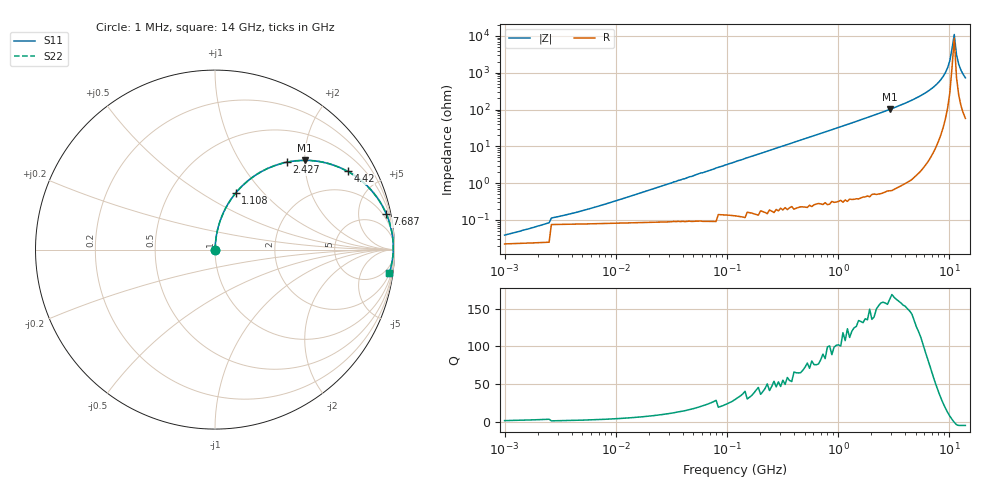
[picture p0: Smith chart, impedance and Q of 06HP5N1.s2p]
# MHz S MA R 50
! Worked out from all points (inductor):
!   208 points, 1 MHz to 14 GHz, reference 50 ohm
!   read as one part in series: L = 5.1 nH near 2.402 MHz
!   highest Q = 162 at 2.918 GHz (marker M1), where L = 5.48 nH
!   self-resonance near 10.62 GHz
!   S11 on the Smith chart (normalised r, x): 1 MHz: 1.00, +0.00; 1.108 GHz: 1.01, +0.72; 2.427 GHz: 1.01, +1.64; 4.42 GHz: 1.02, +3.38; 7.687 GHz: 1.20, +9.61; 14 GHz: 2, -14
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1  0.0005497 35.6  1 -0.0  1 -0.0  0.0005497 35.6
2.092  0.0008274 54.0  1 -0.0  1 -0.0  0.0008274 54.0
5.024  0.001702 70.9  0.999 -0.1  0.999 -0.1  0.001702 70.9
25.239  0.00812 83.9  0.999 -0.5  0.999 -0.5  0.00812 83.9
121.082  0.039 85.8  0.998 -2.2  0.998 -2.2  0.039 85.8
580.879  0.183 78.7  0.981 -10.5  0.981 -10.5  0.183 78.7
1107.898  0.337 69.8  0.939 -19.7  0.939 -19.7  0.337 69.8
1602.273  0.463 62.0  0.883 -27.6  0.883 -27.6  0.463 62.0
2426.627  0.631 50.5  0.772 -39.1  0.772 -39.1  0.631 50.5
2918.243  0.707 44.7  0.703 -45.0  0.703 -45.0  0.707 44.7
4419.651  0.858 30.5  0.508 -59.1  0.508 -59.1  0.858 30.5
6103.728  0.939 19.4  0.333 -70.0  0.333 -70.0  0.939 19.4
7686.758  0.975 11.7  0.203 -77.1  0.203 -77.1  0.975 11.7
8827.384  0.987 7.2  0.125 -80.5  0.125 -80.5  0.987 7.2
9680.353  0.992 4.2  0.073 -81.3  0.073 -81.3  0.992 4.2
10137.26  0.993 2.7  0.047 -79.7  0.047 -79.7  0.993 2.7
10615.74  0.993 1.2  0.022 -70.7  0.022 -70.7  0.993 1.2
11116.81  0.993 -0.3  0.009067 36.8  0.009067 36.8  0.993 -0.3
11641.52  0.992 -1.8  0.032 74.2  0.032 74.2  0.992 -1.8
12191  0.99 -3.3  0.058 78.3  0.058 78.3  0.99 -3.3
12766.41  0.987 -4.8  0.084 79.0  0.084 79.0  0.987 -4.8
14000  0.98 -7.7  0.135 77.7  0.135 77.7  0.98 -7.7
